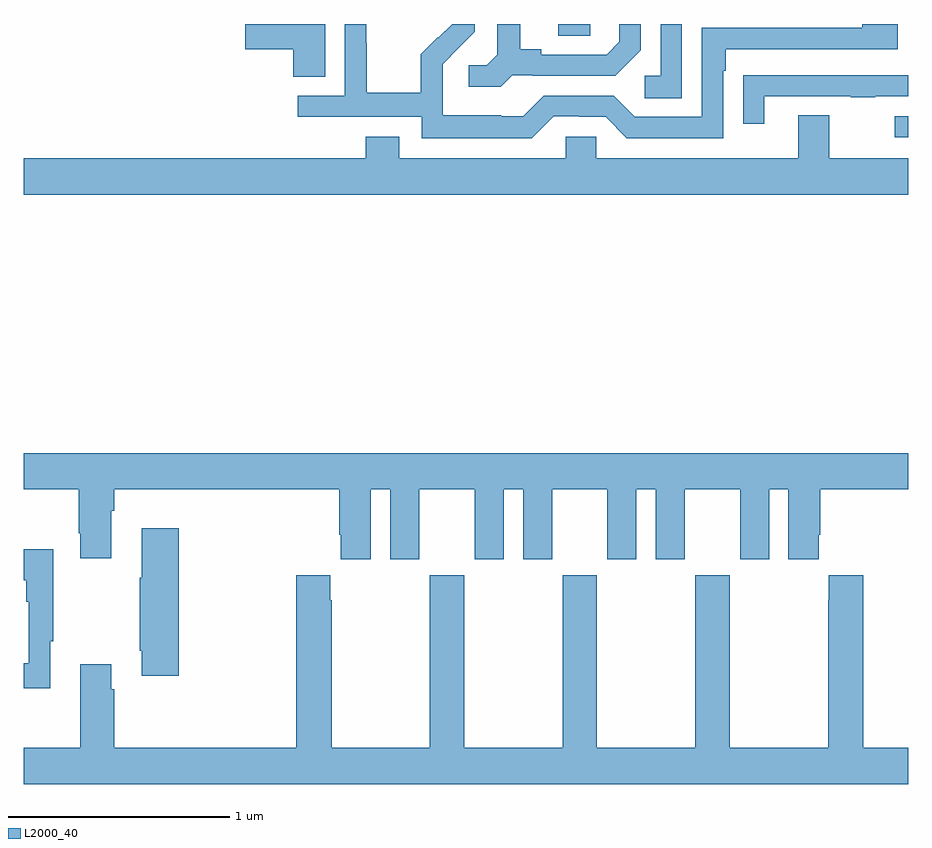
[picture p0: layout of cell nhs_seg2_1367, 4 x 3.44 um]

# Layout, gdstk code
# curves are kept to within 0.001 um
import gdstk
lib = gdstk.Library(unit=1e-6, precision=1e-09)
def R(c, l, rs):  # rectangles x0, y0, x1, y1
    for r in rs: c.add(gdstk.rectangle(r[:2], r[2:], *l))
def P(c, l, *ps):  # polygons
    for p in ps: c.add(gdstk.Polygon(p, *l))
L2000_40 = (2000, 40)

nhs_seg2_1367 = lib.new_cell('nhs_seg2_1367')
R(nhs_seg2_1367, L2000_40, [(186.939,589.287,187,589.383), (185.417,589.747,185.562,589.8)])
P(nhs_seg2_1367, L2000_40, [(184.363,589.8),(184.002,589.8),(184.002,589.685),(184.22,589.685),(184.22,589.561),(184.363,589.561)],
  [(185.208,589.569),(185.302,589.569),(185.302,589.566),(185.674,589.566),(185.79,589.682),(185.79,589.8),(185.693,589.8),(185.693,589.719),(185.636,589.662),(185.341,589.662),(185.341,589.685),(185.245,589.685),(185.245,589.8),(185.141,589.8),(185.141,589.661),(185.094,589.614),(185.013,589.614),(185.013,589.517),(185.156,589.517)],
  [(185.397,589.383),(185.513,589.383),(185.513,589.38),(185.631,589.38),(185.727,589.284),(186.162,589.284),(186.162,589.589),(186.175,589.589),(186.175,589.686),(186.952,589.686),(186.952,589.8),(186.791,589.8),(186.791,589.782),(186.066,589.782),(186.066,589.38),(185.763,589.38),(185.667,589.476),(185.352,589.476),(185.259,589.383),(185.159,589.383),(185.159,589.387),(184.896,589.387),(184.896,589.521),(184.894,589.521),(184.894,589.618),(185.04,589.766),(185.04,589.8),(184.938,589.8),(184.875,589.737),(184.872,589.74),(184.795,589.663),(184.795,589.489),(184.551,589.489),(184.551,589.712),(184.548,589.712),(184.548,589.8),(184.452,589.8),(184.452,589.476),(184.239,589.476),(184.239,589.38),(184.8,589.38),(184.8,589.283),(185.297,589.283)],
  [(185.976,589.8),(185.88,589.8),(185.88,589.566),(185.808,589.566),(185.808,589.465),(185.976,589.465)],
  [(186.349,589.473),(186.739,589.473),(186.739,589.468),(186.851,589.468),(186.851,589.473),(187,589.473),(187,589.569),(186.355,589.569),(186.355,589.568),(186.253,589.568),(186.253,589.35),(186.349,589.35)],
  [(187,589.192),(186.643,589.192),(186.643,589.387),(186.503,589.387),(186.503,589.192),(185.589,589.192),(185.589,589.29),(185.451,589.29),(185.451,589.192),(184.699,589.192),(184.699,589.291),(184.547,589.291),(184.547,589.192),(183,589.192),(183,589.028),(187,589.028)],
  [(183,587.696),(183.25,587.696),(183.25,587.497),(183.257,587.497),(183.257,587.385),(183.397,587.385),(183.397,587.6),(183.41,587.6),(183.41,587.696),(184.427,587.696),(184.427,587.491),(184.433,587.491),(184.433,587.379),(184.57,587.379),(184.57,587.696),(184.658,587.696),(184.658,587.379),(184.789,587.379),(184.789,587.696),(185.039,587.696),(185.039,587.379),(185.17,587.379),(185.17,587.696),(185.258,587.696),(185.258,587.379),(185.389,587.379),(185.389,587.696),(185.639,587.696),(185.639,587.379),(185.77,587.379),(185.77,587.696),(185.858,587.696),(185.858,587.379),(185.989,587.379),(185.989,587.696),(186.239,587.696),(186.239,587.379),(186.37,587.379),(186.37,587.696),(186.458,587.696),(186.458,587.379),(186.595,587.379),(186.595,587.491),(186.602,587.491),(186.602,587.696),(187,587.696),(187,587.86),(183,587.86)],
  [(183.701,587.521),(183.533,587.521),(183.533,587.297),(183.526,587.297),(183.526,586.966),(183.533,586.966),(183.533,586.854),(183.701,586.854)],
  [(183.121,587.009),(183.133,587.009),(183.133,587.425),(183,587.425),(183,587.285),(183.012,587.285),(183.012,587.189),(183.024,587.189),(183.024,586.91),(183,586.91),(183,586.797),(183.121,586.797)],
  [(187,586.528),(186.797,586.528),(186.797,587.308),(186.641,587.308),(186.641,587.195),(186.637,587.195),(186.637,586.528),(186.192,586.528),(186.192,587.308),(186.037,587.308),(186.037,586.528),(185.592,586.528),(185.592,587.308),(185.437,587.308),(185.437,586.528),(184.992,586.528),(184.992,587.308),(184.837,587.308),(184.837,586.528),(184.392,586.528),(184.392,587.195),(184.387,587.195),(184.387,587.308),(184.232,587.308),(184.232,586.528),(183.41,586.528),(183.41,586.793),(183.397,586.793),(183.397,586.906),(183.257,586.906),(183.257,586.528),(183,586.528),(183,586.364),(187,586.364)])

lib.write_gds('nhs_seg2_1367.gds')
